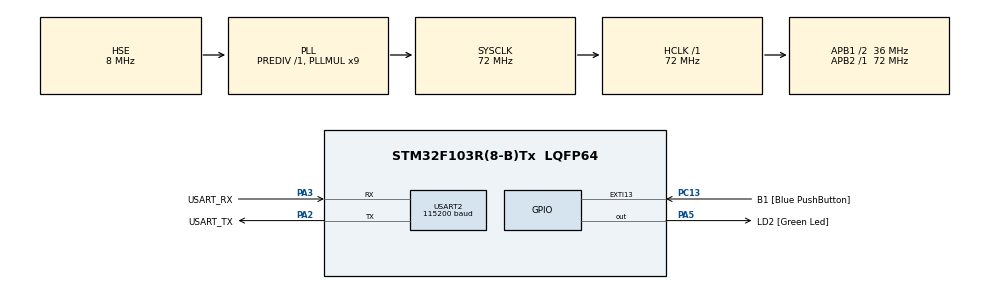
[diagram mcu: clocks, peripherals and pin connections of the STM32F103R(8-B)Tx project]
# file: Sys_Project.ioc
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FREERTOS.CountingSemaphores01=Sph_Get_Btn,4,Dynamic,NULL;Sph_Set_Led,4,Dynamic,NULL;Sph_Get_UART,4,Dynamic,NULL
FREERTOS.INCLUDE_vTaskDelete=0
FREERTOS.Mutexes01=Guardian_UART,Dynamic,NULL
FREERTOS.Queues01=Scan_Queue,4,Symbol_TypeDef,0,Dynamic,NULL,NULL;Print_Queue,4,Symbol_TypeDef,0,Dynamic,NULL,NULL
FREERTOS.Tasks01=Event_Func,24,128,HandlerBtnClick,Default,NULL,Dynamic,NULL,NULL;Set_Led,24,128,LedBlinkTask,Default,NULL,Dynamic,NULL,NULL;Set_UART,24,128,SetUART,Default,NULL,Dynamic,NULL,NULL;Get_UART,24,128,GetUART,Default,NULL,Dynamic,NULL,NULL
FREERTOS.configTICK_RATE_HZ=1000
FREERTOS.configTOTAL_HEAP_SIZE=3500
FREERTOS.configUSE_COUNTING_SEMAPHORES=1
FREERTOS.configUSE_IDLE_HOOK=0
FREERTOS.configUSE_NEWLIB_REENTRANT=1
Mcu.Family=STM32F1
Mcu.Name=STM32F103R(8-B)Tx
Mcu.Package=LQFP64
NVIC.EXTI15_10_IRQn=true\:5\:0\:false\:false\:true\:true\:true\:true
NVIC.PriorityGroup=NVIC_PRIORITYGROUP_4
NVIC.TIM1_UP_IRQn=true\:15\:0\:false\:false\:true\:false\:false\:true
NVIC.TimeBase=TIM1_UP_IRQn
NVIC.TimeBaseIP=TIM1
NVIC.USART2_IRQn=true\:5\:0\:false\:false\:true\:true\:true\:true
PA13.GPIO_Label=TMS
PA13.Mode=Serial_Wire
PA13.Signal=SYS_JTMS-SWDIO
PA14.GPIO_Label=TCK
PA14.Mode=Serial_Wire
PA14.Signal=SYS_JTCK-SWCLK
PA2.GPIO_Label=USART_TX
PA2.GPIO_Mode=GPIO_MODE_AF_PP
PA2.GPIO_PuPd=GPIO_NOPULL
PA2.GPIO_Speed=GPIO_SPEED_FREQ_HIGH
PA2.Mode=Asynchronous
PA2.Signal=USART2_TX
PA3.GPIO_Label=USART_RX
PA3.GPIO_Mode=GPIO_MODE_INPUT
PA3.GPIO_PuPd=GPIO_NOPULL
PA3.GPIO_Speed=GPIO_SPEED_FREQ_LOW
PA3.Mode=Asynchronous
PA3.Signal=USART2_RX
PA5.GPIO_Label=LD2 [Green Led]
PA5.GPIO_ModeDefaultOutputPP=GPIO_MODE_OUTPUT_PP
PA5.GPIO_PuPd=GPIO_PULLUP
PA5.GPIO_Speed=GPIO_SPEED_FREQ_HIGH
PA5.PinState=GPIO_PIN_RESET
PA5.Signal=GPIO_Output
PB3.GPIO_Label=SWO
PB3.Signal=SYS_JTDO-TRACESWO
PC13-TAMPER-RTC.GPIO_Label=B1 [Blue PushButton]
PC13-TAMPER-RTC.GPIO_PuPd=GPIO_NOPULL
PC13-TAMPER-RTC.Signal=GPXTI13
PC14-OSC32_IN.Mode=LSE-External-Oscillator
PC14-OSC32_IN.Signal=RCC_OSC32_IN
PC15-OSC32_OUT.Mode=LSE-External-Oscillator
PC15-OSC32_OUT.Signal=RCC_OSC32_OUT
PD0-OSC_IN.Mode=HSE-External-Clock-Source
PD0-OSC_IN.Signal=RCC_OSC_IN
PD1-OSC_OUT.Mode=HSE-External-Clock-Source
PD1-OSC_OUT.Signal=RCC_OSC_OUT
ProjectManager.HeapSize=0x200
ProjectManager.StackSize=0x400
ProjectManager.TargetToolchain=STM32CubeIDE
RCC.AHBFreq_Value=72000000
RCC.APB1CLKDivider=RCC_HCLK_DIV2
RCC.APB1Freq_Value=36000000
RCC.APB1TimFreq_Value=72000000
RCC.APB2Freq_Value=72000000
RCC.APB2TimFreq_Value=72000000
RCC.HCLKFreq_Value=72000000
RCC.PLLMUL=RCC_PLL_MUL9
RCC.PLLSourceVirtual=RCC_PLLSOURCE_HSE
RCC.RTCClockSelection=RCC_RTCCLKSOURCE_LSE
RCC.SYSCLKFreq_VALUE=72000000
RCC.SYSCLKSource=RCC_SYSCLKSOURCE_PLLCLK
RCC.USBFreq_Value=72000000
USART2.BaudRate=115200
USART2.VirtualMode=VM_ASYNC
VP_FREERTOS_VS_CMSIS_V2.Mode=CMSIS_V2
VP_SYS_VS_tim1.Mode=TIM1
board=NUCLEO-F103RB

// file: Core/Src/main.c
/* USER CODE BEGIN Header */
/**
  ******************************************************************************
  * @file           : main.c
  * @brief          : Main program body
  ******************************************************************************
  * @attention
  *
  * <h2><center>&copy; Copyright (c) 2021 STMicroelectronics.
  * All rights reserved.</center></h2>
  *
  * This software component is licensed by ST under BSD 3-Clause license,
  * the "License"; You may not use this file except in compliance with the
  * License. You may obtain a copy of the License at:
  *                        opensource.org/licenses/BSD-3-Clause
  *
  ******************************************************************************
  */
/* USER CODE END Header */
#include "main.h"
#include "cmsis_os.h"

/* USER CODE BEGIN Includes */
#include "queue.h"
#include "semphr.h"
#include "stdlib.h"
/* USER CODE END Includes */

/* USER CODE BEGIN PTD */
typedef	struct{
	uint8_t	First_Bit;
	uint8_t	Second_Bit;
	uint8_t	Third_Bit;
	uint8_t	Fourth_Bit;
	uint8_t Fifth_Bit;
	uint8_t	Sixth_Bit;
	uint8_t	Bit_Number;
}Symbol_TypeDef;

typedef	enum{
	Point										=	1,
	Dash,
}Type_Symbol_TypeDef;

/* USER CODE END PTD */

/* USER CODE BEGIN PD */

#define	FIRST_BIT								( (uint8_t) 1)
#define	SECOND_BIT								( (uint8_t) 2)
#define	THIRD_BIT								( (uint8_t) 3)
#define	FOURTH_BIT								( (uint8_t) 4)
#define	FIFTH_BIT								( (uint8_t) 5)
#define	SIXTH_BIT								( (uint8_t) 6)
#define	END_BIT									( (uint8_t) 7)

#define	TIME_DELAY_SPH 							( (TickType_t) (750 / portTICK_RATE_MS) )

#define	Offset									( (uint8_t) 48)

/* USER CODE END PD */

UART_HandleTypeDef huart2;

/* Definitions for Event_Func */
osThreadId_t Event_FuncHandle;
const osThreadAttr_t Event_Func_attributes = {
  .name = "Event_Func",
  .stack_size = 128 * 4,
  .priority = (osPriority_t) osPriorityNormal,
};
/* Definitions for Set_Led */
osThreadId_t Set_LedHandle;
const osThreadAttr_t Set_Led_attributes = {
  .name = "Set_Led",
  .stack_size = 128 * 4,
  .priority = (osPriority_t) osPriorityNormal,
};
/* Definitions for Set_UART */
osThreadId_t Set_UARTHandle;
const osThreadAttr_t Set_UART_attributes = {
  .name = "Set_UART",
  .stack_size = 128 * 4,
  .priority = (osPriority_t) osPriorityNormal,
};
/* Definitions for Get_UART */
osThreadId_t Get_UARTHandle;
const osThreadAttr_t Get_UART_attributes = {
  .name = "Get_UART",
  .stack_size = 128 * 4,
  .priority = (osPriority_t) osPriorityNormal,
};
/* Definitions for Scan_Queue */
osMessageQueueId_t Scan_QueueHandle;
const osMessageQueueAttr_t Scan_Queue_attributes = {
  .name = "Scan_Queue"
};
/* Definitions for Print_Queue */
osMessageQueueId_t Print_QueueHandle;
const osMessageQueueAttr_t Print_Queue_attributes = {
  .name = "Print_Queue"
};
/* Definitions for Guardian_UART */
osMutexId_t Guardian_UARTHandle;
const osMutexAttr_t Guardian_UART_attributes = {
  .name = "Guardian_UART"
};
/* Definitions for Sph_Get_Btn */
osSemaphoreId_t Sph_Get_BtnHandle;
const osSemaphoreAttr_t Sph_Get_Btn_attributes = {
  .name = "Sph_Get_Btn"
};
/* Definitions for Sph_Set_Led */
osSemaphoreId_t Sph_Set_LedHandle;
const osSemaphoreAttr_t Sph_Set_Led_attributes = {
  .name = "Sph_Set_Led"
};
/* Definitions for Sph_Get_UART */
osSemaphoreId_t Sph_Get_UARTHandle;
const osSemaphoreAttr_t Sph_Get_UART_attributes = {
  .name = "Sph_Get_UART"
};
/* USER CODE BEGIN PV */
volatile uint32_t	ActivTaskNumbe			=	0;

uint8_t Number_Itaration					=	0u;
/* USER CODE END PV */

void SystemClock_Config(void);
static void MX_GPIO_Init(void);
static void MX_USART2_UART_Init(void);
void HandlerBtnClick(void *argument);
void LedBlinkTask(void *argument);
void SetUART(void *argument);
void GetUART(void *argument);

/* USER CODE BEGIN PFP */
void Get_Btn_Task(void)
{
	xSemaphoreGiveFromISR(Sph_Get_BtnHandle, NULL);
	xSemaphoreGiveFromISR(Sph_Set_LedHandle, NULL);
}

void Activate_Get_UART(void)
{
	//xSemaphoreGiveFromISR(Sph_Get_UARTHandle, NULL);
	xSemaphoreTakeFromISR(Guardian_UARTHandle, NULL);
}
/* USER CODE END PFP */

int main(void)
{

  /* MCU Configuration--------------------------------------------------------*/

  /* Reset of all peripherals, Initializes the Flash interface and the Systick. */
  HAL_Init();

  /* Configure the system clock */
  SystemClock_Config();

  /* Initialize all configured peripherals */
  MX_GPIO_Init();
  MX_USART2_UART_Init();

  /* Init scheduler */
  osKernelInitialize();
  /* Create the mutex(es) */
  /* creation of Guardian_UART */
  Guardian_UARTHandle = osMutexNew(&Guardian_UART_attributes);

  /* Create the semaphores(s) */
  /* creation of Sph_Get_Btn */
  Sph_Get_BtnHandle = osSemaphoreNew(4, 4, &Sph_Get_Btn_attributes);

  /* creation of Sph_Set_Led */
  Sph_Set_LedHandle = osSemaphoreNew(4, 4, &Sph_Set_Led_attributes);

  /* creation of Sph_Get_UART */
  Sph_Get_UARTHandle = osSemaphoreNew(4, 4, &Sph_Get_UART_attributes);

  /* Create the queue(s) */
  /* creation of Scan_Queue */
  Scan_QueueHandle = osMessageQueueNew (4, sizeof(Symbol_TypeDef), &Scan_Queue_attributes);

  /* creation of Print_Queue */
  Print_QueueHandle = osMessageQueueNew (4, sizeof(Symbol_TypeDef), &Print_Queue_attributes);

  /* Create the thread(s) */
  /* creation of Event_Func */
  Event_FuncHandle = osThreadNew(HandlerBtnClick, NULL, &Event_Func_attributes);

  /* creation of Set_Led */
  Set_LedHandle = osThreadNew(LedBlinkTask, NULL, &Set_Led_attributes);

  /* creation of Set_UART */
  Set_UARTHandle = osThreadNew(SetUART, NULL, &Set_UART_attributes);

  /* creation of Get_UART */
  Get_UARTHandle = osThreadNew(GetUART, NULL, &Get_UART_attributes);

  /* Start scheduler */
  osKernelStart();

  /* We should never get here as control is now taken by the scheduler */
  /* Infinite loop */
  while (1)
  {

  }
}

void SystemClock_Config(void)
{
  RCC_OscInitTypeDef RCC_OscInitStruct = {0};
  RCC_ClkInitTypeDef RCC_ClkInitStruct = {0};

  /** Initializes the RCC Oscillators according to the specified parameters
  * in the RCC_OscInitTypeDef structure.
  */
  RCC_OscInitStruct.OscillatorType = RCC_OSCILLATORTYPE_HSE;
  RCC_OscInitStruct.HSEState = RCC_HSE_BYPASS;
  RCC_OscInitStruct.HSEPredivValue = RCC_HSE_PREDIV_DIV1;
  RCC_OscInitStruct.HSIState = RCC_HSI_ON;
  RCC_OscInitStruct.PLL.PLLState = RCC_PLL_ON;
  RCC_OscInitStruct.PLL.PLLSource = RCC_PLLSOURCE_HSE;
  RCC_OscInitStruct.PLL.PLLMUL = RCC_PLL_MUL9;
  if (HAL_RCC_OscConfig(&RCC_OscInitStruct) != HAL_OK)
  {
    Error_Handler();
  }
  /** Initializes the CPU, AHB and APB buses clocks
  */
  RCC_ClkInitStruct.ClockType = RCC_CLOCKTYPE_HCLK|RCC_CLOCKTYPE_SYSCLK
                              |RCC_CLOCKTYPE_PCLK1|RCC_CLOCKTYPE_PCLK2;
  RCC_ClkInitStruct.SYSCLKSource = RCC_SYSCLKSOURCE_PLLCLK;
  RCC_ClkInitStruct.AHBCLKDivider = RCC_SYSCLK_DIV1;
  RCC_ClkInitStruct.APB1CLKDivider = RCC_HCLK_DIV2;
  RCC_ClkInitStruct.APB2CLKDivider = RCC_HCLK_DIV1;

  if (HAL_RCC_ClockConfig(&RCC_ClkInitStruct, FLASH_LATENCY_2) != HAL_OK)
  {
    Error_Handler();
  }
}

static void MX_USART2_UART_Init(void)
{

  huart2.Instance = USART2;
  huart2.Init.BaudRate = 115200;
  huart2.Init.WordLength = UART_WORDLENGTH_8B;
  huart2.Init.StopBits = UART_STOPBITS_1;
  huart2.Init.Parity = UART_PARITY_NONE;
  huart2.Init.Mode = UART_MODE_TX_RX;
  huart2.Init.HwFlowCtl = UART_HWCONTROL_NONE;
  huart2.Init.OverSampling = UART_OVERSAMPLING_16;
  if (HAL_UART_Init(&huart2) != HAL_OK)
  {
    Error_Handler();
  }

}

static void MX_GPIO_Init(void)
{
  GPIO_InitTypeDef GPIO_InitStruct = {0};

  /* GPIO Ports Clock Enable */
  __HAL_RCC_GPIOC_CLK_ENABLE();
  __HAL_RCC_GPIOD_CLK_ENABLE();
  __HAL_RCC_GPIOA_CLK_ENABLE();
  __HAL_RCC_GPIOB_CLK_ENABLE();

  /*Configure GPIO pin Output Level */
  HAL_GPIO_WritePin(LD2_GPIO_Port, LD2_Pin, GPIO_PIN_RESET);

  /*Configure GPIO pin : B1_Pin */
  GPIO_InitStruct.Pin = B1_Pin;
  GPIO_InitStruct.Mode = GPIO_MODE_IT_RISING;
  GPIO_InitStruct.Pull = GPIO_NOPULL;
  HAL_GPIO_Init(B1_GPIO_Port, &GPIO_InitStruct);

  /*Configure GPIO pin : LD2_Pin */
  GPIO_InitStruct.Pin = LD2_Pin;
  GPIO_InitStruct.Mode = GPIO_MODE_OUTPUT_PP;
  GPIO_InitStruct.Pull = GPIO_PULLUP;
  GPIO_InitStruct.Speed = GPIO_SPEED_FREQ_HIGH;
  HAL_GPIO_Init(LD2_GPIO_Port, &GPIO_InitStruct);

  /* EXTI interrupt init*/
  HAL_NVIC_SetPriority(EXTI15_10_IRQn, 5, 0);
  HAL_NVIC_EnableIRQ(EXTI15_10_IRQn);

}

void HandlerBtnClick(void *argument)
{
  /* USER CODE BEGIN 5 */
		Symbol_TypeDef	*Symbol						=	(Symbol_TypeDef*)malloc(
																 sizeof(Symbol_TypeDef));

	/* Infinite loop */

	/*	Очистка листа семофоров - неправельная конфигурация CMSIS V2 */
	xSemaphoreTake(Sph_Get_BtnHandle, portMAX_DELAY);
	xSemaphoreTake(Sph_Get_BtnHandle, portMAX_DELAY);
	xSemaphoreTake(Sph_Get_BtnHandle, portMAX_DELAY);
	xSemaphoreTake(Sph_Get_BtnHandle, portMAX_DELAY);

	for(;;)
	{
		/*	Обнулить данные в битах, для более простой передачи через UART	*/
		Symbol -> First_Bit						=	(uint8_t) 0;
		Symbol -> Second_Bit					=	(uint8_t) 0;
		Symbol -> Third_Bit						=	(uint8_t) 0;
		Symbol -> Fourth_Bit					=	(uint8_t) 0;
		Symbol -> Fifth_Bit						=	(uint8_t) 0;
		Symbol -> Sixth_Bit						=	(uint8_t) 0;
		Symbol -> Bit_Number					= 	FIRST_BIT;

		xSemaphoreTake(Sph_Get_BtnHandle, portMAX_DELAY);

Point_Handling_Second_Bit:

		/*	Детектирование нажатия как точки	*/
		if (xSemaphoreTake(Sph_Get_BtnHandle, TIME_DELAY_SPH) == pdFALSE)
		{
			switch(Symbol -> Bit_Number)
			{
				case FIRST_BIT:
				{
					Symbol -> First_Bit			=	Point;
					Symbol -> Bit_Number		= 	SECOND_BIT;
				}break;
				case SECOND_BIT:
				{
					Symbol -> Second_Bit		=	Point;
					Symbol -> Bit_Number		= 	THIRD_BIT;
				}break;
				case THIRD_BIT:
				{
					Symbol -> Third_Bit			=	Point;
					Symbol -> Bit_Number		= 	FOURTH_BIT;
				}break;
				case FOURTH_BIT:
				{
					Symbol -> Fourth_Bit		=	Point;
					Symbol -> Bit_Number		= 	FIFTH_BIT;
				}break;
				case FIFTH_BIT:
				{
					Symbol -> Fifth_Bit			=	Point;
					Symbol -> Bit_Number		= 	SIXTH_BIT;
				}break;
				case SIXTH_BIT:
				{
					Symbol -> Sixth_Bit			=	Point;
					Symbol -> Bit_Number		= 	END_BIT;
				}break;
				default:
				{
				};
			}
		}
		/*	Детектирование нажатия как тире	*/
		else
		{
			switch(Symbol -> Bit_Number)
			{
				case FIRST_BIT:
				{
					Symbol -> First_Bit			=	Dash;
					Symbol -> Bit_Number		= 	SECOND_BIT;
				}break;
				case SECOND_BIT:
				{
					Symbol -> Second_Bit		=	Dash;
					Symbol -> Bit_Number		= 	THIRD_BIT;
				}break;
				case THIRD_BIT:
				{
					Symbol -> Third_Bit			=	Dash;
					Symbol -> Bit_Number		= 	FOURTH_BIT;
				}break;
				case FOURTH_BIT:
				{
					Symbol -> Fourth_Bit		=	Dash;
					Symbol -> Bit_Number		= 	FIFTH_BIT;
				}break;
				case FIFTH_BIT:
				{
					Symbol -> Fifth_Bit			=	Dash;
					Symbol -> Bit_Number		= 	SIXTH_BIT;
				}break;
				case SIXTH_BIT:
				{
					Symbol -> Sixth_Bit			=	Dash;
					Symbol -> Bit_Number		= 	END_BIT;
				}break;
				default:
				{
				};
			}
		}

		/*	Обработка пропуска между символами	*/
		switch(xSemaphoreTake(Sph_Get_BtnHandle, 2 * TIME_DELAY_SPH))
		{
			case pdFALSE:
			{
				/*	Перемещение данных в очередь, для отправки в UART	*/
				xQueueSendToBack(Print_QueueHandle, Symbol, portMAX_DELAY);
			}break;
			default:
			{
				/*	Переход в точку Point_Handling_Second_Bit, для
				 * пропускапервлго семофора	*/
				goto Point_Handling_Second_Bit;
			};
		}
	}

  /* USER CODE END 5 */
}

void LedBlinkTask(void *argument)
{
  /* USER CODE BEGIN LedBlinkTask */

		/*	Для указания, что произошло переключение задач.
		Number_Itaration				=	2u;*/

	/*	Очистка листа семофоров - неправельная конфигурация CMSIS V2 */
	xSemaphoreTake(Sph_Set_LedHandle, portMAX_DELAY);
	xSemaphoreTake(Sph_Set_LedHandle, portMAX_DELAY);
	xSemaphoreTake(Sph_Set_LedHandle, portMAX_DELAY);
	xSemaphoreTake(Sph_Set_LedHandle, portMAX_DELAY);

	/* Infinite loop */
	for(;;)
	{
		xSemaphoreTake(Sph_Set_LedHandle, portMAX_DELAY);

			HAL_GPIO_WritePin( LD2_GPIO_Port, LD2_Pin, GPIO_PIN_SET );
			osDelay(TIME_DELAY_SPH);
			HAL_GPIO_WritePin( LD2_GPIO_Port, LD2_Pin, GPIO_PIN_RESET );
	}
  /* USER CODE END LedBlinkTask */
}

void SetUART(void *argument)
{
  /* USER CODE BEGIN SetUART */
	Symbol_TypeDef *Transmit_Symbol				=	(Symbol_TypeDef*)malloc(
			 	 	 	 	 	 	 	 	 	 	 	 	 	 	 sizeof(Symbol_TypeDef));;
	uint8_t	Sumbol_Bits[6] = {0};
	/* Infinite loop */
	for(;;)
	{

		xQueueReceive(Print_QueueHandle, Transmit_Symbol, portMAX_DELAY);
		/*	Создание вектора типа uint8_t, состоящего из данных нажатия на кнопку
		 * для передачи через UART
		 */
		for (uint8_t	Number_Bits = 0; Number_Bits < 7; Number_Bits ++)
		{
			switch(Number_Bits+1)
			{
				case FIRST_BIT:
				{
					Sumbol_Bits[Number_Bits]	=	Transmit_Symbol -> First_Bit + Offset;
				}break;
				case SECOND_BIT:
				{
					Sumbol_Bits[Number_Bits]	=	Transmit_Symbol -> Second_Bit + Offset;
				}break;
				case THIRD_BIT:
				{
					Sumbol_Bits[Number_Bits]	=	Transmit_Symbol -> Third_Bit + Offset;
				}break;
				case FOURTH_BIT:
				{
					Sumbol_Bits[Number_Bits]	=	Transmit_Symbol -> Fourth_Bit + Offset;
				}break;
				case FIFTH_BIT:
				{
					Sumbol_Bits[Number_Bits]	=	Transmit_Symbol -> Fifth_Bit + Offset;
				}break;
				case SIXTH_BIT:
				{
					Sumbol_Bits[Number_Bits]	=	Transmit_Symbol -> Sixth_Bit + Offset;
				}break;
				default:
				{
				};
			}
			if (Sumbol_Bits[Number_Bits] == (uint8_t) 0)
			{
				break;
			}
		}
		xSemaphoreTake(Guardian_UARTHandle, portMAX_DELAY);
		HAL_UART_Transmit_IT(&huart2, Sumbol_Bits, 6);

		/*	Ожидание завершения передачи	*/
		while(HAL_UART_GetState(&huart2) == HAL_UART_STATE_BUSY_TX_RX )
		{
		}

		xSemaphoreGive(Guardian_UARTHandle);

	}
  /* USER CODE END SetUART */
}

void GetUART(void *argument)
{
  /* USER CODE BEGIN GetUART */
	uint8_t	Sumbol_Bits[6];
	/* Infinite loop */

	/*	Очистка листа семофоров - неправельная конфигурация CMSIS V2 */
	xSemaphoreTake(Sph_Get_UARTHandle, portMAX_DELAY);
	xSemaphoreTake(Sph_Get_UARTHandle, portMAX_DELAY);
	xSemaphoreTake(Sph_Get_UARTHandle, portMAX_DELAY);
	xSemaphoreTake(Sph_Get_UARTHandle, portMAX_DELAY);

	for(;;)
	{

		HAL_UART_Receive_IT(&huart2, Sumbol_Bits, 6);

		//xSemaphoreTake(Sph_Get_UARTHandle, portMAX_DELAY);
		//xSemaphoreTake(Guardian_UARTHandle, portMAX_DELAY);

		/*	Ожидание завершения приёма	*/
		while(HAL_UART_GetState(&huart2) == HAL_UART_STATE_BUSY_RX )
		{
		}

		xSemaphoreGive(Guardian_UARTHandle);

		/*	Динамическая индикация, на основе принятых данных	*/
		for (uint8_t	Number_Bits = 0; Number_Bits < 6; Number_Bits ++)
		{
			if ( (Sumbol_Bits[Number_Bits] - Offset) == Point)
			{
				HAL_GPIO_WritePin( LD2_GPIO_Port, LD2_Pin, GPIO_PIN_SET );
				osDelay(TIME_DELAY_SPH);
				HAL_GPIO_WritePin( LD2_GPIO_Port, LD2_Pin, GPIO_PIN_RESET );
			}
			else if ( (Sumbol_Bits[Number_Bits] - Offset) == Dash)
			{
				HAL_GPIO_WritePin( LD2_GPIO_Port, LD2_Pin, GPIO_PIN_SET );
				osDelay(2 * TIME_DELAY_SPH);
				HAL_GPIO_WritePin( LD2_GPIO_Port, LD2_Pin, GPIO_PIN_RESET );
			}
			osDelay(TIME_DELAY_SPH);
		}

	}
  /* USER CODE END GetUART */
}

void HAL_TIM_PeriodElapsedCallback(TIM_HandleTypeDef *htim)
{
  if (htim->Instance == TIM1) {
    HAL_IncTick();
  }
}

void Error_Handler(void)
{
  __disable_irq();
  while (1)
  {
  }
}

/************************ (C) COPYRIGHT STMicroelectronics *****END OF FILE****/
